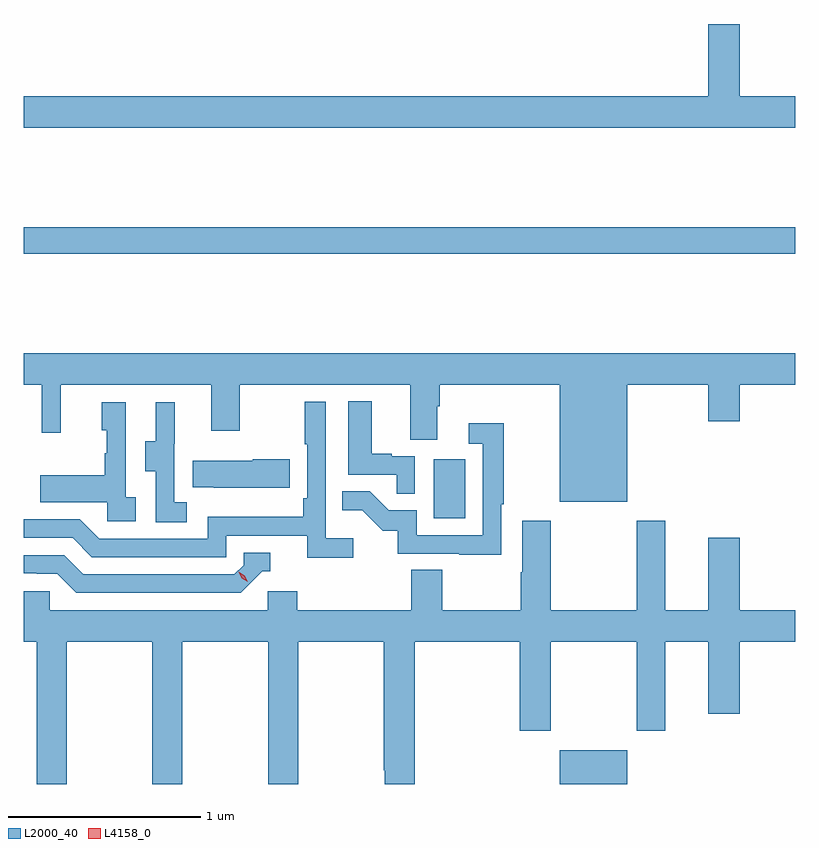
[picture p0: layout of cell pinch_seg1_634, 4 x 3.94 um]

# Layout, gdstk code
import gdstk
lib = gdstk.Library(unit=1e-6, precision=1e-09)
def R(c, l, rs):  # rectangles x0, y0, x1, y1
    for r in rs: c.add(gdstk.rectangle(r[:2], r[2:], *l))
def P(c, l, *ps):  # polygons
    for p in ps: c.add(gdstk.Polygon(p, *l))
L2000_40 = (2000, 40)
L4158_0 = (4158, 0)

pinch_seg1_634 = lib.new_cell('pinch_seg1_634')
R(pinch_seg1_634, L2000_40, [(1123.28,503.042,1123.63,503.218), (1122.626,504.42,1122.79,504.727), (1120.5,505.792,1124.5,505.928)])
P(pinch_seg1_634, L2000_40, [(1124.5,506.608),(1124.212,506.608),(1124.212,506.983),(1124.048,506.983),(1124.048,506.608),(1120.5,506.608),(1120.5,506.444),(1124.5,506.444)],
  [(1123.63,505.112),(1124.048,505.112),(1124.048,504.924),(1124.212,504.924),(1124.212,505.112),(1124.5,505.112),(1124.5,505.276),(1120.5,505.276),(1120.5,505.112),(1120.593,505.112),(1120.593,504.864),(1120.691,504.864),(1120.691,505.112),(1121.471,505.112),(1121.471,504.873),(1121.619,504.873),(1121.619,505.112),(1122.503,505.112),(1122.503,504.826),(1122.643,504.826),(1122.643,505),(1122.656,505),(1122.656,505.112),(1123.28,505.112),(1123.28,504.506),(1123.63,504.506)],
  [(1122.528,504.741),(1122.407,504.741),(1122.407,504.754),(1122.304,504.754),(1122.304,505.027),(1122.182,505.027),(1122.182,504.645),(1122.433,504.645),(1122.433,504.547),(1122.528,504.547)],
  [(1122.208,504.316),(1122.066,504.316),(1122.066,505.024),(1121.958,505.024),(1121.958,504.805),(1121.97,504.805),(1121.97,504.523),(1121.95,504.523),(1121.95,504.427),(1121.454,504.427),(1121.454,504.315),(1120.89,504.315),(1120.791,504.414),(1120.5,504.414),(1120.5,504.318),(1120.754,504.318),(1120.853,504.219),(1121.55,504.219),(1121.55,504.33),(1121.969,504.33),(1121.969,504.214),(1122.208,504.214)],
  [(1121.344,504.503),(1121.28,504.503),(1121.28,504.807),(1121.282,504.807),(1121.282,505.021),(1121.183,505.021),(1121.183,504.819),(1121.129,504.819),(1121.129,504.664),(1121.184,504.664),(1121.184,504.4),(1121.344,504.4)],
  [(1121.08,504.53),(1121.028,504.53),(1121.028,505.021),(1120.904,505.021),(1120.904,504.876),(1120.93,504.876),(1120.93,504.758),(1120.92,504.758),(1120.92,504.643),(1120.585,504.643),(1120.585,504.503),(1120.932,504.503),(1120.932,504.405),(1121.08,504.405)],
  [(1122.975,504.493),(1122.988,504.493),(1122.988,504.913),(1122.807,504.913),(1122.807,504.807),(1122.879,504.807),(1122.879,504.333),(1122.537,504.333),(1122.537,504.462),(1122.392,504.462),(1122.294,504.56),(1122.151,504.56),(1122.151,504.461),(1122.255,504.461),(1122.362,504.354),(1122.439,504.354),(1122.439,504.237),(1122.757,504.237),(1122.757,504.232),(1122.975,504.232)],
  [(1121.878,504.726),(1121.687,504.726),(1121.687,504.718),(1121.377,504.718),(1121.377,504.581),(1121.485,504.581),(1121.485,504.578),(1121.878,504.578)],
  [(1120.722,503.78),(1121.167,503.78),(1121.167,503.042),(1121.322,503.042),(1121.322,503.78),(1121.767,503.78),(1121.767,503.042),(1121.922,503.042),(1121.922,503.78),(1122.367,503.78),(1122.367,503.113),(1122.371,503.113),(1122.371,503.042),(1122.527,503.042),(1122.527,503.78),(1123.073,503.78),(1123.073,503.319),(1123.233,503.319),(1123.233,503.78),(1123.678,503.78),(1123.678,503.319),(1123.825,503.319),(1123.825,503.78),(1124.048,503.78),(1124.048,503.406),(1124.212,503.406),(1124.212,503.78),(1124.5,503.78),(1124.5,503.944),(1124.212,503.944),(1124.212,504.319),(1124.048,504.319),(1124.048,503.944),(1123.825,503.944),(1123.825,504.406),(1123.678,504.406),(1123.678,503.944),(1123.233,503.944),(1123.233,504.406),(1123.085,504.406),(1123.085,504.14),(1123.078,504.14),(1123.078,503.944),(1122.669,503.944),(1122.669,504.152),(1122.509,504.152),(1122.509,503.944),(1121.918,503.944),(1121.918,504.042),(1121.766,504.042),(1121.766,503.944),(1120.635,503.944),(1120.635,504.042),(1120.5,504.042),(1120.5,503.78),(1120.567,503.78),(1120.567,503.042),(1120.722,503.042)],
  [(1121.736,504.144),(1121.779,504.144),(1121.779,504.24),(1121.64,504.24),(1121.64,504.177),(1121.592,504.129),(1120.809,504.129),(1120.71,504.228),(1120.5,504.228),(1120.5,504.135),(1120.566,504.135),(1120.566,504.132),(1120.673,504.132),(1120.772,504.033),(1121.625,504.033)])
P(pinch_seg1_634, L4158_0, [(1121.661,504.09),(1121.631,504.109),(1121.614,504.141),(1121.614,504.142),(1121.615,504.142),(1121.645,504.122),(1121.662,504.09),(1121.662,504.09)])

lib.write_gds('pinch_seg1_634.gds')
